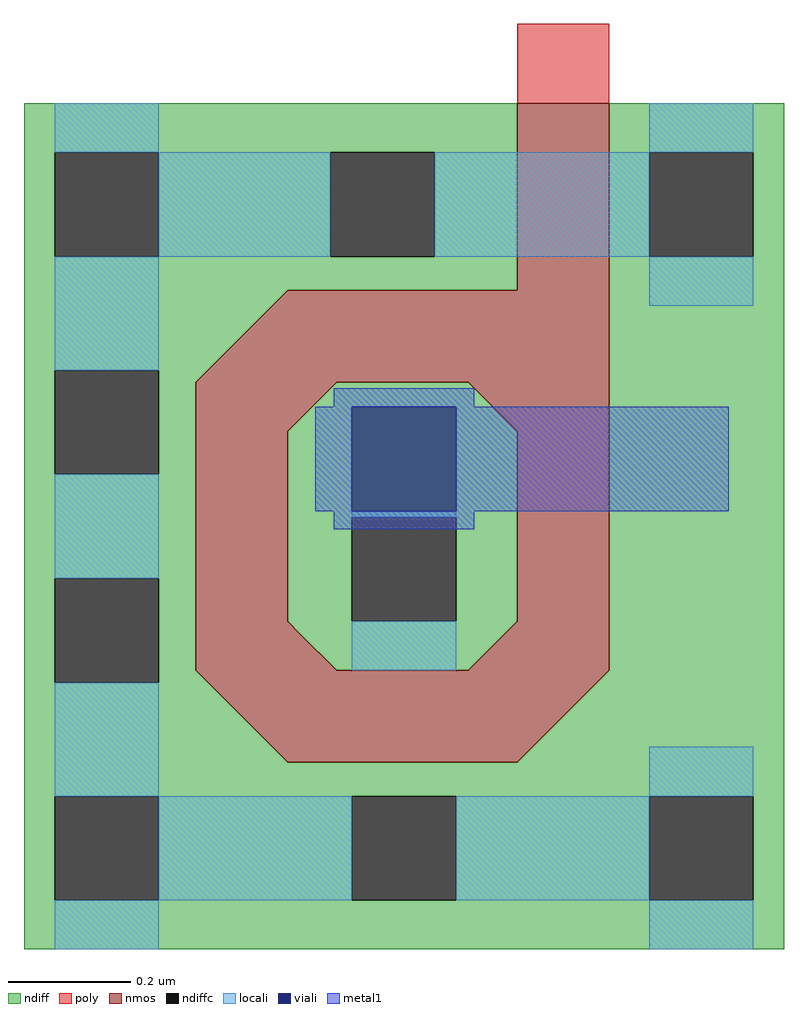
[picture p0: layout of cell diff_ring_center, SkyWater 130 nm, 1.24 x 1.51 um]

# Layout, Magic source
magic
tech sky130A
magscale 1 2
<< nmos >>
rect 161 215 191 276
tri 56 185 86 215 se
rect 86 185 191 215
rect 56 103 86 185
tri 86 169 102 185 nw
tri 145 169 161 185 ne
tri 86 103 90 107 sw
rect 56 91 90 103
tri 90 91 102 103 sw
tri 145 91 161 107 se
rect 161 91 191 185
tri 56 61 86 91 ne
rect 86 61 161 91
tri 161 61 191 91 nw
<< ndiff >>
rect 0 260 161 276
rect 0 226 10 260
rect 44 226 100 260
rect 134 226 161 260
rect 0 215 161 226
rect 191 260 248 276
rect 191 226 204 260
rect 238 226 248 260
rect 0 189 56 215
rect 0 155 10 189
rect 44 155 56 189
tri 56 185 86 215 nw
rect 0 121 56 155
rect 0 87 10 121
rect 44 87 56 121
tri 86 169 102 185 se
rect 102 169 145 185
tri 145 169 161 185 sw
rect 86 141 161 169
rect 86 107 107 141
rect 141 107 161 141
tri 86 103 90 107 ne
rect 90 103 145 107
tri 90 91 102 103 ne
rect 102 91 145 103
tri 145 91 161 107 nw
rect 0 61 56 87
tri 56 61 86 91 sw
tri 161 61 191 91 se
rect 191 61 248 226
rect 0 50 248 61
rect 0 16 10 50
rect 44 16 107 50
rect 141 16 204 50
rect 238 16 248 50
rect 0 0 248 16
<< ndiffc >>
rect 10 226 44 260
rect 100 226 134 260
rect 204 226 238 260
rect 10 155 44 189
rect 10 87 44 121
rect 107 107 141 141
rect 10 16 44 50
rect 107 16 141 50
rect 204 16 238 50
<< poly >>
rect 161 276 191 302
<< locali >>
rect 10 260 44 276
rect 204 260 238 276
rect 44 226 100 260
rect 134 226 204 260
rect 10 189 44 226
rect 204 210 238 226
rect 10 121 44 155
rect 107 141 141 143
rect 107 91 141 107
rect 10 50 44 87
rect 204 50 238 66
rect 44 16 107 50
rect 141 16 204 50
rect 10 0 44 16
rect 204 0 238 16
<< viali >>
rect 107 143 141 177
<< metal1 >>
rect 101 177 147 183
rect 95 143 107 177
rect 141 143 230 177
rect 101 137 147 143
<< end >>
